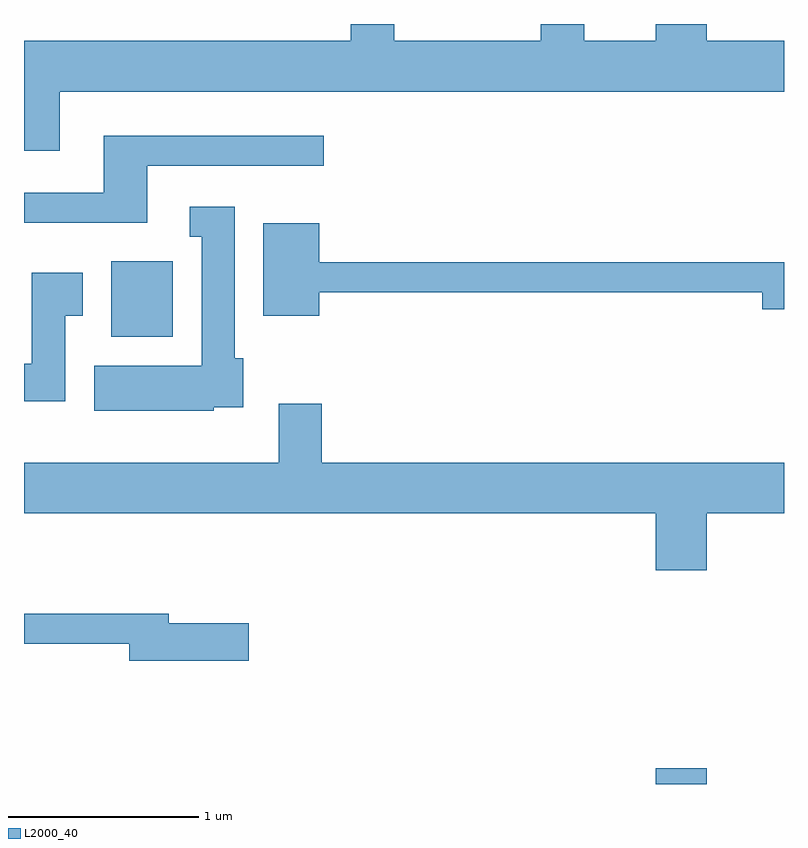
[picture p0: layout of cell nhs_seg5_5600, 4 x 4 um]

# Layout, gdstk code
import gdstk
lib = gdstk.Library(unit=1e-6, precision=1e-09)
def R(c, l, rs):  # rectangles x0, y0, x1, y1
    for r in rs: c.add(gdstk.rectangle(r[:2], r[2:], *l))
def P(c, l, *ps):  # polygons
    for p in ps: c.add(gdstk.Polygon(p, *l))
L2000_40 = (2000, 40)

nhs_seg5_5600 = lib.new_cell('nhs_seg5_5600')
R(nhs_seg5_5600, L2000_40, [(354.936,1422.072,355.204,1422.154), (352.071,1424.426,352.394,1424.824)])
P(nhs_seg5_5600, L2000_40, [(351.799,1425.716),(355.611,1425.716),(355.611,1425.984),(355.204,1425.984),(355.204,1426.072),(354.936,1426.072),(354.936,1425.984),(354.559,1425.984),(354.559,1426.072),(354.331,1426.072),(354.331,1425.984),(353.559,1425.984),(353.559,1426.072),(353.331,1426.072),(353.331,1425.984),(351.611,1425.984),(351.611,1425.406),(351.799,1425.406)],
  [(352.259,1425.326),(353.188,1425.326),(353.188,1425.484),(352.031,1425.484),(352.031,1425.184),(351.611,1425.184),(351.611,1425.026),(352.259,1425.026)],
  [(352.609,1424.056),(352.764,1424.056),(352.764,1424.314),(352.719,1424.314),(352.719,1425.109),(352.483,1425.109),(352.483,1424.951),(352.546,1424.951),(352.546,1424.274),(351.981,1424.274),(351.981,1424.036),(352.609,1424.036)],
  [(353.164,1424.661),(355.496,1424.661),(355.496,1424.571),(355.611,1424.571),(355.611,1424.819),(353.164,1424.819),(353.164,1425.024),(352.871,1425.024),(352.871,1424.536),(353.164,1424.536)],
  [(351.829,1424.536),(351.919,1424.536),(351.919,1424.764),(351.651,1424.764),(351.651,1424.284),(351.611,1424.284),(351.611,1424.086),(351.829,1424.086)],
  [(355.204,1423.496),(355.611,1423.496),(355.611,1423.764),(353.179,1423.764),(353.179,1424.074),(352.951,1424.074),(352.951,1423.764),(351.611,1423.764),(351.611,1423.496),(354.936,1423.496),(354.936,1423.196),(355.204,1423.196)],
  [(352.794,1422.919),(352.374,1422.919),(352.374,1422.969),(351.611,1422.969),(351.611,1422.811),(352.166,1422.811),(352.166,1422.721),(352.794,1422.721)])

lib.write_gds('nhs_seg5_5600.gds')
